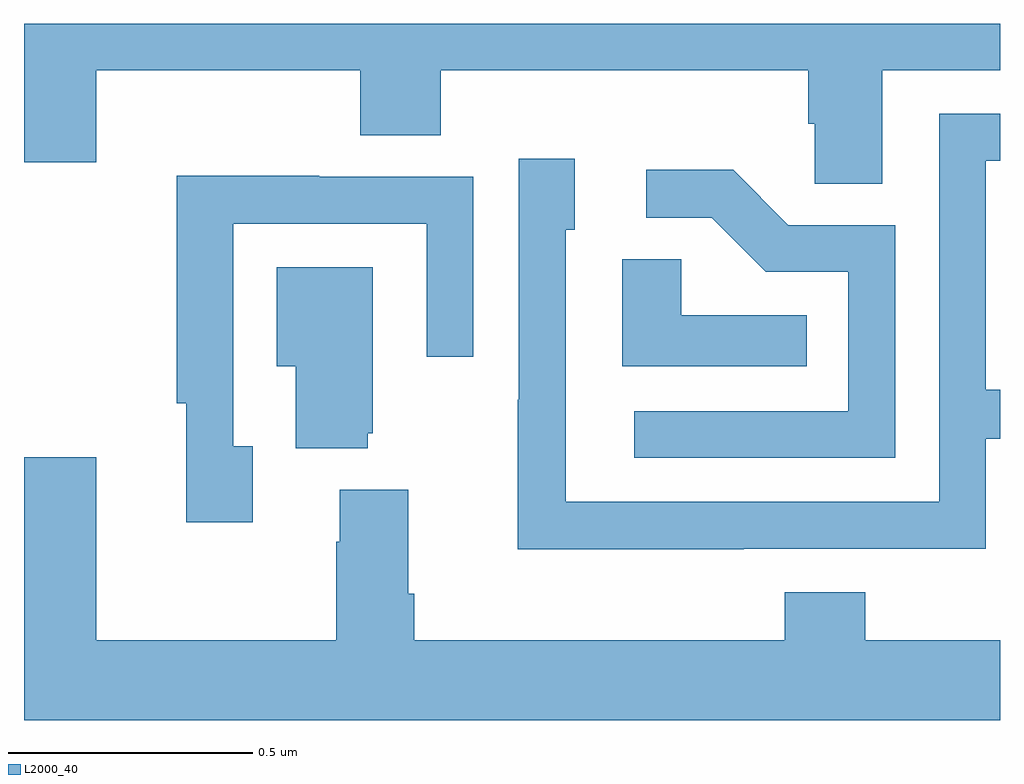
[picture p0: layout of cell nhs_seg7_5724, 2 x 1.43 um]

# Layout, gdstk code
import gdstk
lib = gdstk.Library(unit=1e-6, precision=1e-09)
def P(c, l, *ps):  # polygons
    for p in ps: c.add(gdstk.Polygon(p, *l))
L2000_40 = (2000, 40)

nhs_seg7_5724 = lib.new_cell('nhs_seg7_5724')
P(nhs_seg7_5724, L2000_40, [(190.759,1045.904),(191,1045.904),(191,1046),(189,1046),(189,1045.716),(189.148,1045.716),(189.148,1045.904),(189.689,1045.904),(189.689,1045.771),(189.854,1045.771),(189.854,1045.904),(190.607,1045.904),(190.607,1045.795),(190.62,1045.795),(190.62,1045.672),(190.759,1045.672)],
  [(190.475,1044.924),(190.971,1044.924),(190.971,1045.149),(191,1045.149),(191,1045.25),(190.971,1045.25),(190.971,1045.719),(191,1045.719),(191,1045.815),(190.875,1045.815),(190.875,1045.02),(190.11,1045.02),(190.11,1045.578),(190.129,1045.578),(190.129,1045.723),(190.014,1045.723),(190.014,1045.229),(190.012,1045.229),(190.012,1044.923),(190.475,1044.923)],
  [(190.785,1045.587),(190.566,1045.587),(190.453,1045.7),(190.275,1045.7),(190.275,1045.602),(190.409,1045.602),(190.52,1045.491),(190.689,1045.491),(190.689,1045.206),(190.251,1045.206),(190.251,1045.11),(190.785,1045.11)],
  [(189.469,1045.134),(189.429,1045.134),(189.429,1045.59),(189.825,1045.59),(189.825,1045.317),(189.921,1045.317),(189.921,1045.686),(189.605,1045.686),(189.605,1045.688),(189.313,1045.688),(189.313,1045.222),(189.332,1045.222),(189.332,1044.978),(189.469,1044.978)],
  [(190.604,1045.402),(190.347,1045.402),(190.347,1045.517),(190.226,1045.517),(190.226,1045.298),(190.604,1045.298)],
  [(189.704,1045.161),(189.715,1045.161),(189.715,1045.501),(189.518,1045.501),(189.518,1045.298),(189.557,1045.298),(189.557,1045.13),(189.704,1045.13)],
  [(191,1044.736),(190.724,1044.736),(190.724,1044.835),(190.559,1044.835),(190.559,1044.736),(189.8,1044.736),(189.8,1044.832),(189.787,1044.832),(189.787,1045.045),(189.647,1045.045),(189.647,1044.938),(189.64,1044.938),(189.64,1044.736),(189.148,1044.736),(189.148,1045.111),(189,1045.111),(189,1044.572),(191,1044.572)])

lib.write_gds('nhs_seg7_5724.gds')
